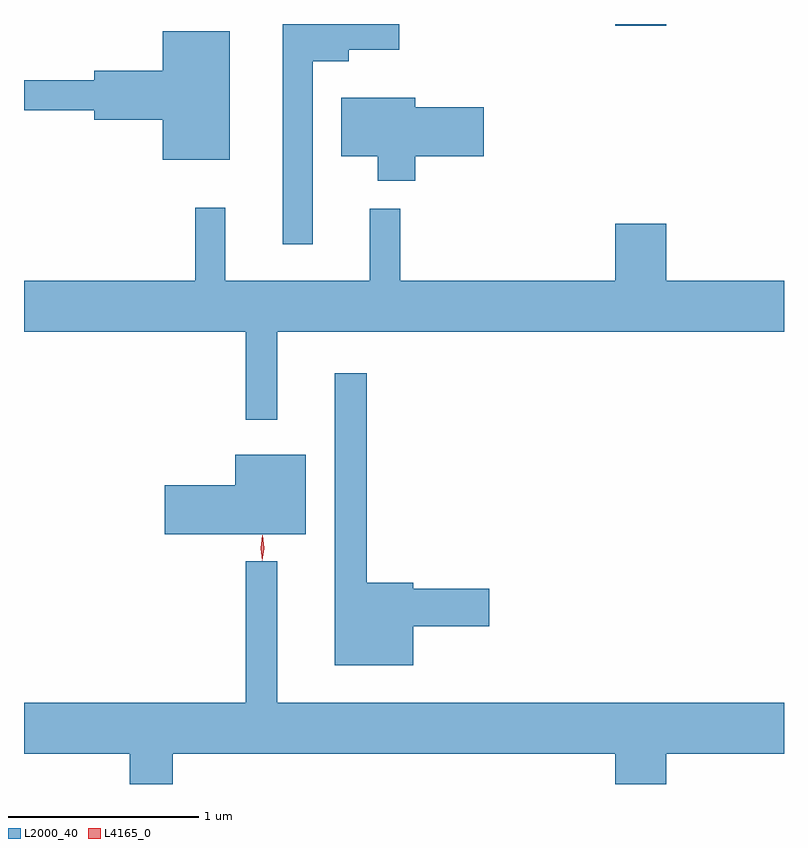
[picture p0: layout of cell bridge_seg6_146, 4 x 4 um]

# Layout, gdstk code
import gdstk
lib = gdstk.Library(unit=1e-6, precision=1e-09)
def R(c, l, rs):  # rectangles x0, y0, x1, y1
    for r in rs: c.add(gdstk.rectangle(r[:2], r[2:], *l))
def P(c, l, *ps):  # polygons
    for p in ps: c.add(gdstk.Polygon(p, *l))
L2000_40 = (2000, 40)
L4165_0 = (4165, 0)

bridge_seg6_146 = lib.new_cell('bridge_seg6_146')
R(bridge_seg6_146, L2000_40, [(1134.156,1580.506,1134.424,1580.516)])
P(bridge_seg6_146, L2000_40, [(1132.564,1580.321),(1132.754,1580.321),(1132.754,1580.381),(1133.019,1580.381),(1133.019,1580.516),(1132.406,1580.516),(1132.406,1579.358),(1132.564,1579.358)],
  [(1132.129,1580.479),(1131.776,1580.479),(1131.776,1580.269),(1131.416,1580.269),(1131.416,1580.219),(1131.045,1580.219),(1131.045,1580.061),(1131.416,1580.061),(1131.416,1580.011),(1131.776,1580.011),(1131.776,1579.801),(1132.129,1579.801)],
  [(1133.104,1579.821),(1133.464,1579.821),(1133.464,1580.079),(1133.104,1580.079),(1133.104,1580.129),(1132.716,1580.129),(1132.716,1579.821),(1132.906,1579.821),(1132.906,1579.691),(1133.104,1579.691)],
  [(1132.379,1578.896),(1135.045,1578.896),(1135.045,1579.164),(1134.424,1579.164),(1134.424,1579.464),(1134.156,1579.464),(1134.156,1579.164),(1133.024,1579.164),(1133.024,1579.543),(1132.866,1579.543),(1132.866,1579.164),(1132.104,1579.164),(1132.104,1579.548),(1131.946,1579.548),(1131.946,1579.164),(1131.045,1579.164),(1131.045,1578.896),(1132.211,1578.896),(1132.211,1578.433),(1132.379,1578.433)],
  [(1133.094,1577.346),(1133.494,1577.346),(1133.494,1577.544),(1133.094,1577.544),(1133.094,1577.574),(1132.849,1577.574),(1132.849,1578.678),(1132.681,1578.678),(1132.681,1577.141),(1133.094,1577.141)],
  [(1132.529,1578.249),(1132.156,1578.249),(1132.156,1578.089),(1131.786,1578.089),(1131.786,1577.831),(1132.529,1577.831)],
  [(1131.829,1576.676),(1134.156,1576.676),(1134.156,1576.516),(1134.424,1576.516),(1134.424,1576.676),(1135.045,1576.676),(1135.045,1576.944),(1132.379,1576.944),(1132.379,1577.688),(1132.211,1577.688),(1132.211,1576.944),(1131.045,1576.944),(1131.045,1576.676),(1131.601,1576.676),(1131.601,1576.516),(1131.829,1576.516)])
P(bridge_seg6_146, L4165_0, [(1132.298,1577.69),(1132.29,1577.758),(1132.3,1577.825),(1132.3,1577.826),(1132.301,1577.825),(1132.31,1577.758),(1132.3,1577.69),(1132.299,1577.69)],
  [(1132.299,1577.693),(1132.298,1577.694),(1132.29,1577.756),(1132.3,1577.819),(1132.301,1577.82),(1132.301,1577.819),(1132.31,1577.756),(1132.3,1577.694)])

lib.write_gds('bridge_seg6_146.gds')
